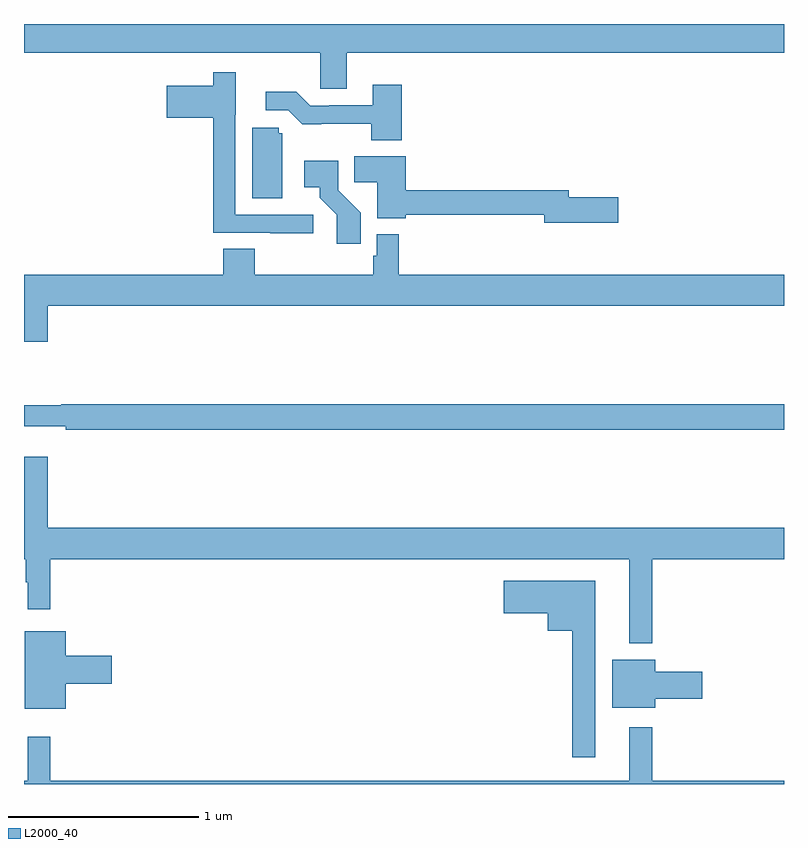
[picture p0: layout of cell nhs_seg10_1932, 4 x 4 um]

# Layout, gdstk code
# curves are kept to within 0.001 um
import gdstk
lib = gdstk.Library(unit=1e-6, precision=1e-09)
def P(c, l, *ps):  # polygons
    for p in ps: c.add(gdstk.Polygon(p, *l))
L2000_40 = (2000, 40)

nhs_seg10_1932 = lib.new_cell('nhs_seg10_1932')
P(nhs_seg10_1932, L2000_40, [(214.699,1268.348),(217,1268.348),(217,1268.5),(213,1268.5),(213,1268.348),(214.56,1268.348),(214.56,1268.158),(214.699,1268.158)],
  [(214.522,1267.497),(214.113,1267.497),(214.113,1268.022),(214.114,1268.022),(214.114,1268.245),(213.997,1268.245),(213.997,1268.176),(213.75,1268.176),(213.75,1268.006),(213.997,1268.006),(213.997,1267.401),(214.297,1267.401),(214.297,1267.399),(214.522,1267.399)],
  [(214.988,1268.179),(214.835,1268.179),(214.835,1268.073),(214.606,1268.073),(214.606,1268.07),(214.506,1268.07),(214.433,1268.143),(214.272,1268.143),(214.272,1268.046),(214.392,1268.046),(214.465,1267.973),(214.828,1267.974),(214.828,1267.889),(214.988,1267.889)],
  [(214.36,1267.926),(214.341,1267.926),(214.341,1267.953),(214.202,1267.953),(214.202,1267.582),(214.36,1267.582)],
  [(216.127,1267.589),(215.866,1267.589),(215.866,1267.625),(215.009,1267.625),(215.009,1267.804),(214.738,1267.804),(214.738,1267.666),(214.859,1267.666),(214.859,1267.478),(215.009,1267.478),(215.009,1267.497),(215.738,1267.497),(215.738,1267.454),(216.127,1267.454)],
  [(214.772,1267.506),(214.653,1267.625),(214.653,1267.78),(214.476,1267.78),(214.476,1267.64),(214.556,1267.64),(214.556,1267.585),(214.647,1267.495),(214.647,1267.344),(214.772,1267.344)],
  [(213.124,1267.016),(217,1267.016),(217,1267.18),(214.973,1267.18),(214.973,1267.393),(214.857,1267.393),(214.857,1267.281),(214.837,1267.281),(214.837,1267.18),(214.214,1267.18),(214.214,1267.316),(214.049,1267.316),(214.049,1267.18),(213,1267.18),(213,1266.828),(213.124,1266.828)],
  [(217,1266.5),(213.197,1266.5),(213.197,1266.493),(213,1266.493),(213,1266.383),(213.22,1266.383),(213.22,1266.364),(217,1266.364)],
  [(216.307,1265.684),(217,1265.684),(217,1265.848),(213.124,1265.848),(213.124,1266.223),(213,1266.223),(213,1265.684),(213.009,1265.684),(213.009,1265.561),(213.02,1265.561),(213.02,1265.421),(213.137,1265.421),(213.137,1265.684),(216.185,1265.684),(216.185,1265.24),(216.307,1265.24)],
  [(216.007,1265.569),(215.526,1265.569),(215.526,1265.399),(215.756,1265.399),(215.756,1265.306),(215.886,1265.306),(215.886,1264.641),(216.007,1264.641)],
  [(213.22,1265.027),(213.463,1265.027),(213.463,1265.174),(213.22,1265.174),(213.22,1265.305),(213.005,1265.305),(213.005,1264.895),(213.22,1264.895)],
  [(216.322,1264.948),(216.571,1264.948),(216.571,1265.09),(216.322,1265.09),(216.322,1265.155),(216.095,1265.155),(216.095,1264.901),(216.322,1264.901)],
  [(217,1264.516),(216.307,1264.516),(216.307,1264.798),(216.185,1264.798),(216.185,1264.516),(213.137,1264.516),(213.137,1264.75),(213.02,1264.75),(213.02,1264.516),(213,1264.516),(213,1264.5),(217,1264.5)])

lib.write_gds('nhs_seg10_1932.gds')
